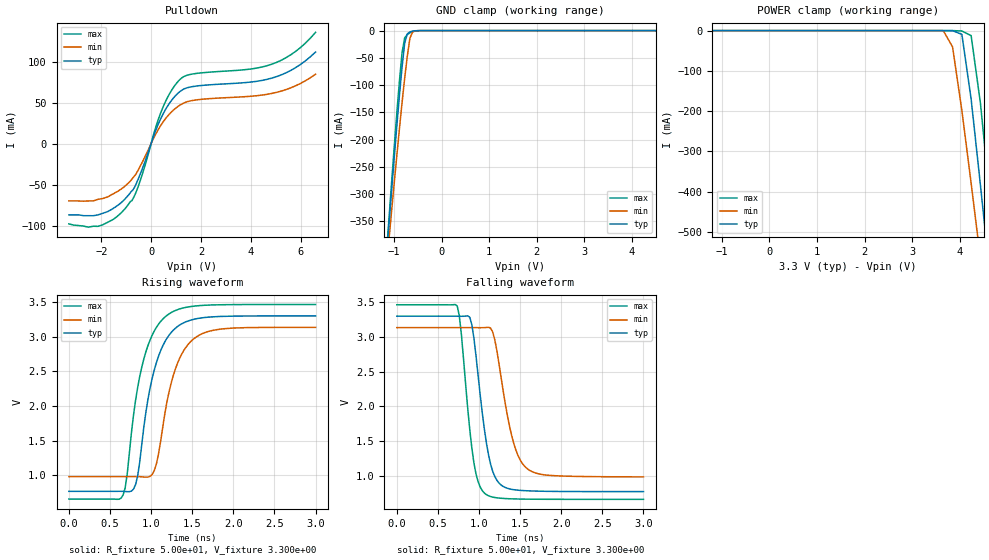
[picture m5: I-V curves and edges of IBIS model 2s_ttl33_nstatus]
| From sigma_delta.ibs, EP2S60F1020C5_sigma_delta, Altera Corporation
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[Model] 2s_ttl33_nstatus
Model_type I/O_open_drain
Vinl  = 0.8
Vinh  = 1.7
Vmeas = 1.5675
Rref  = 10k
Cref  = 0pF
Vref  = 3.3
C_comp  3.00pF  NA  NA
[Temperature Range]  25.000   85.000   0.000
[Voltage Range]   3.300   3.135   3.465
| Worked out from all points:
|   slope of the pulldown table from 0 to 0.495 V, typ, clamps not added: 13.3 ohm
|   GND clamp passes 1 mA (typ) near -0.62 V on its own axis
|   rising waveform, R_fixture 5.00e+01, V_fixture 3.300e+00: 20-80 % time 245ps typ, 249ps min, 245ps max; typ from 0.768 V to 3.3 V
|   falling waveform, R_fixture 5.00e+01, V_fixture 3.300e+00: 20-80 % time 163ps typ, 206ps min, 138ps max; typ from 3.3 V to 0.768 V
[GND_Clamp]
| voltage   I(typ)   I(min)   I(max)
-3.3V     -2.907A    -2.551A    -3.109A
-1.16V    -416.6mA   -435.9mA   -412.4mA
-1.105V   -355mA     -383.5mA   -345.6mA
-1.05V    -294mA     -331.6mA   -279.5mA
-940mV    -175.2mA   -229.6mA   -151.6mA
-830mV    -67.05mA   -132.2mA   -40.56mA
-775mV    -22.77mA   -87.29mA   -13.36mA
-720mV    -6.04mA    -47.16mA   -7.238mA
-665mV    -2.278mA   -13.9mA    -4.022mA
-610mV    -835.8uA   -2.708mA   -1.836mA
-500mV    -67.54uA   -125.9uA   -161.4uA
6.6V      144.2uA    95.87uA    179.7uA
[Pulldown]
| voltage   I(typ)   I(min)   I(max)
-3.3V     -87mA      -70mA      -98mA
-2.52V    -88mA      -70mA      -102mA
-1.935V   -85mA      -67mA      -99mA
-1.325V   -75.1mA    -58mA      -87.96mA
-775mV    -57.78mA   -43.65mA   -69.77mA
-445mV    -37.88mA   -28.06mA   -45.94mA
435mV     33.55mA    24.4mA     41.37mA
820mV     52.79mA    38.76mA    65.03mA
1.205V    64.68mA    47.87mA    79.64mA
4.82V     79.8mA     61.16mA    96.75mA
5.795V    92.73mA    70.58mA    112.5mA
6.6V      111.9mA    84.79mA    135.9mA
[POWER_Clamp]
|voltage   I(typ)   I(min)   I(max)
-3.3V     144.2uA    77.94uA    202.6uA
3.65V     -1.165uA   -187.8uA   -8.029nA
3.845V    -202.1uA   -40.5mA    -5.139uA
4.04V     -9.229mA   -197.9mA   -959.5uA
4.235V    -169.9mA   -378.7mA   -12.47mA
4.43V     -383mA     -565.6mA   -179.9mA
4.625V    -604.1mA   -755.3mA   -412.4mA
4.82V     -828.3mA   -946.7mA   -652.9mA
6.6V      -2.907A    -2.715A    -2.9A
[Rising Waveform]
R_fixture = 5.00e+01
V_fixture = 3.300e+00
V_fixture_min = 3.135e+00
V_fixture_max = 3.465e+00
|Time   Typ(v)   Min(v)   Max(v)
0s        767.7mV    979.5mV    656.1mV
633.8ps   767.9mV    979.5mV    668mV
684.5ps   766mV      979.5mV    815.8mV
785.9ps   799.6mV    979.7mV    1.865V
887.3ps   1.45V      977.1mV    2.563V
1.039ns   2.522V     1.07V      3.083V
1.192ns   2.975V     2.051V     3.305V
1.369ns   3.183V     2.74V      3.408V
1.597ns   3.268V     3.029V     3.449V
3ns       3.299V     3.134V     3.464V
[Falling Waveform]
R_fixture = 5.00e+01
V_fixture = 3.300e+00
V_fixture_min = 3.135e+00
V_fixture_max = 3.465e+00
|Time   Typ(v)   Min(v)   Max(v)
0s        3.3V       3.135V     3.465V
735.1ps   3.3V       3.135V     3.449V
785.9ps   3.299V     3.135V     3.034V
912.6ps   3.178V     3.135V     1.398V
988.7ps   2.446V     3.134V     912.4mV
1.065ns   1.672V     3.135V     747.2mV
1.217ns   932.1mV    2.805V     677.9mV
1.394ns   801mV      1.59V      663.4mV
1.572ns   780.3mV    1.113V     658.8mV
3ns       767.7mV    980.3mV    656.1mV
[Ramp]
dV/dt_r 1.346e+000/2.282e-010 1.255e+000/2.535e-010 1.643e+000/2.535e-010
dV/dt_f 1.684e+000/1.775e-010 1.330e+000/2.028e-010 1.635e+000/1.268e-010
